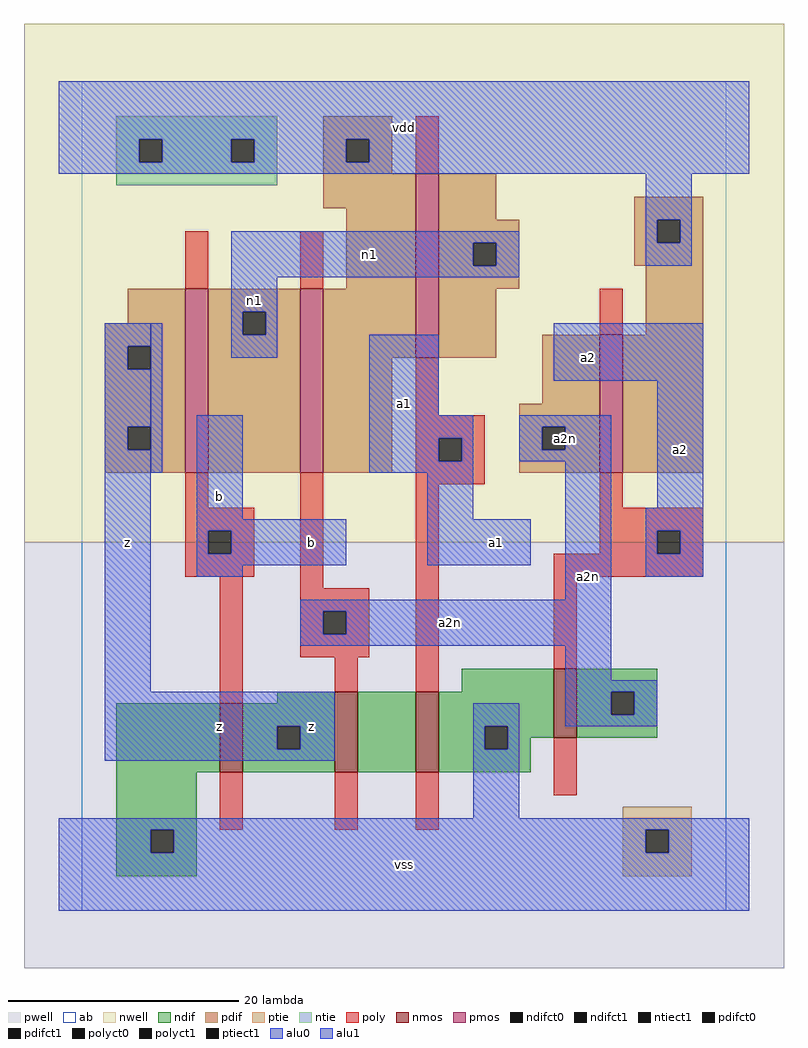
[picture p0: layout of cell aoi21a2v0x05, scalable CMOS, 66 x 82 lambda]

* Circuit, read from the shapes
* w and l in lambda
.subckt aoi21a2v0x05 a1 a2 a2n b n1 vdd vss z
M1 z b vss vss nfet w=6 l=2
M2 n2 a2n z vss nfet w=7 l=2
M3 vss a1 n2 vss nfet w=7 l=2
M4 a2n a2 vss vss nfet w=6 l=2
M5 n1 b z vdd pfet w=16 l=2
M6 vdd a2n n1 vdd pfet w=16 l=2
M7 n1 a1 vdd vdd pfet w=16 l=2
M8 vdd a2 a2n vdd pfet w=12 l=2
.ends

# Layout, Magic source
magic
tech scmos
<< ab >>
rect 0 0 56 72
<< nwell >>
rect -5 32 61 77
<< pwell >>
rect -5 -5 61 32
<< poly >>
rect 29 64 31 69
rect 9 54 11 59
rect 19 54 21 59
rect 45 50 47 54
rect 29 43 31 48
rect 29 41 35 43
rect 29 39 31 41
rect 33 39 35 41
rect 9 35 11 38
rect 9 33 15 35
rect 9 31 11 33
rect 13 31 15 33
rect 9 29 15 31
rect 12 18 14 29
rect 19 28 21 38
rect 29 37 35 39
rect 19 26 25 28
rect 19 24 21 26
rect 23 24 25 26
rect 19 22 25 24
rect 22 19 24 22
rect 29 19 31 37
rect 45 35 47 38
rect 45 33 54 35
rect 45 31 50 33
rect 52 31 54 33
rect 41 29 54 31
rect 41 21 43 29
rect 12 7 14 12
rect 22 7 24 12
rect 29 7 31 12
rect 41 10 43 15
<< ndif >>
rect 33 19 41 21
rect 17 18 22 19
rect 3 12 12 18
rect 14 16 22 18
rect 14 14 17 16
rect 19 14 22 16
rect 14 12 22 14
rect 24 12 29 19
rect 31 16 41 19
rect 31 14 35 16
rect 37 15 41 16
rect 43 19 50 21
rect 43 17 46 19
rect 48 17 50 19
rect 43 15 50 17
rect 37 14 39 15
rect 31 12 39 14
rect 3 7 10 12
rect 3 5 6 7
rect 8 5 10 7
rect 3 3 10 5
<< pdif >>
rect 21 67 27 69
rect 21 65 23 67
rect 25 65 27 67
rect 21 64 27 65
rect 21 61 29 64
rect 23 54 29 61
rect 4 51 9 54
rect 2 49 9 51
rect 2 47 4 49
rect 6 47 9 49
rect 2 42 9 47
rect 2 40 4 42
rect 6 40 9 42
rect 2 38 9 40
rect 11 52 19 54
rect 11 50 14 52
rect 16 50 19 52
rect 11 38 19 50
rect 21 48 29 54
rect 31 60 36 64
rect 48 60 54 62
rect 31 58 38 60
rect 31 56 34 58
rect 36 56 38 58
rect 48 58 50 60
rect 52 58 54 60
rect 48 56 54 58
rect 31 54 38 56
rect 31 48 36 54
rect 49 50 54 56
rect 21 38 27 48
rect 40 44 45 50
rect 38 42 45 44
rect 38 40 40 42
rect 42 40 45 42
rect 38 38 45 40
rect 47 38 54 50
<< alu1 >>
rect -2 67 58 72
rect -2 65 5 67
rect 7 65 13 67
rect 15 65 23 67
rect 25 65 58 67
rect -2 64 58 65
rect 49 60 53 64
rect 49 58 50 60
rect 52 58 53 60
rect 49 56 53 58
rect 2 49 6 51
rect 2 47 4 49
rect 2 42 6 47
rect 2 40 4 42
rect 2 19 6 40
rect 25 43 31 50
rect 41 46 54 51
rect 10 34 14 43
rect 25 41 34 43
rect 25 39 31 41
rect 33 39 34 41
rect 25 38 34 39
rect 30 34 34 38
rect 10 33 23 34
rect 10 31 11 33
rect 13 31 23 33
rect 10 30 23 31
rect 30 30 39 34
rect 10 29 14 30
rect 50 35 54 46
rect 49 33 54 35
rect 49 31 50 33
rect 52 31 54 33
rect 49 29 54 31
rect 2 16 22 19
rect 2 14 17 16
rect 19 14 22 16
rect 2 13 22 14
rect 34 16 38 18
rect 34 14 35 16
rect 37 14 38 16
rect 34 8 38 14
rect -2 7 58 8
rect -2 5 6 7
rect 8 5 49 7
rect 51 5 58 7
rect -2 0 58 5
<< ptie >>
rect 47 7 53 9
rect 47 5 49 7
rect 51 5 53 7
rect 47 3 53 5
<< ntie >>
rect 3 67 17 69
rect 3 65 5 67
rect 7 65 13 67
rect 15 65 17 67
rect 3 63 17 65
<< nmos >>
rect 12 12 14 18
rect 22 12 24 19
rect 29 12 31 19
rect 41 15 43 21
<< pmos >>
rect 9 38 11 54
rect 19 38 21 54
rect 29 48 31 64
rect 45 38 47 50
<< polyct0 >>
rect 21 24 23 26
<< polyct1 >>
rect 31 39 33 41
rect 11 31 13 33
rect 50 31 52 33
<< ndifct0 >>
rect 46 17 48 19
<< ndifct1 >>
rect 17 14 19 16
rect 35 14 37 16
rect 6 5 8 7
<< ntiect1 >>
rect 5 65 7 67
rect 13 65 15 67
<< ptiect1 >>
rect 49 5 51 7
<< pdifct0 >>
rect 14 50 16 52
rect 34 56 36 58
rect 40 40 42 42
<< pdifct1 >>
rect 23 65 25 67
rect 4 47 6 49
rect 4 40 6 42
rect 50 58 52 60
<< alu0 >>
rect 13 58 38 59
rect 13 56 34 58
rect 36 56 38 58
rect 13 55 38 56
rect 13 52 17 55
rect 6 38 7 51
rect 13 50 14 52
rect 16 50 17 52
rect 13 48 17 50
rect 38 42 46 43
rect 38 40 40 42
rect 42 40 46 42
rect 38 39 46 40
rect 42 27 46 39
rect 19 26 46 27
rect 19 24 21 26
rect 23 24 46 26
rect 19 23 46 24
rect 42 20 46 23
rect 42 19 50 20
rect 42 17 46 19
rect 48 17 50 19
rect 42 16 50 17
<< labels >>
rlabel alu0 15 53 15 53 6 n1
rlabel alu0 44 29 44 29 6 a2n
rlabel alu0 32 25 32 25 6 a2n
rlabel alu0 42 41 42 41 6 a2n
rlabel alu0 25 57 25 57 6 n1
rlabel alu1 4 32 4 32 6 z
rlabel alu1 20 16 20 16 6 z
rlabel alu1 12 16 12 16 6 z
rlabel alu1 20 32 20 32 6 b
rlabel alu1 12 36 12 36 6 b
rlabel alu1 28 4 28 4 6 vss
rlabel alu1 36 32 36 32 6 a1
rlabel alu1 28 44 28 44 6 a1
rlabel alu1 28 68 28 68 6 vdd
rlabel alu1 52 40 52 40 6 a2
rlabel alu1 44 48 44 48 6 a2
<< end >>
